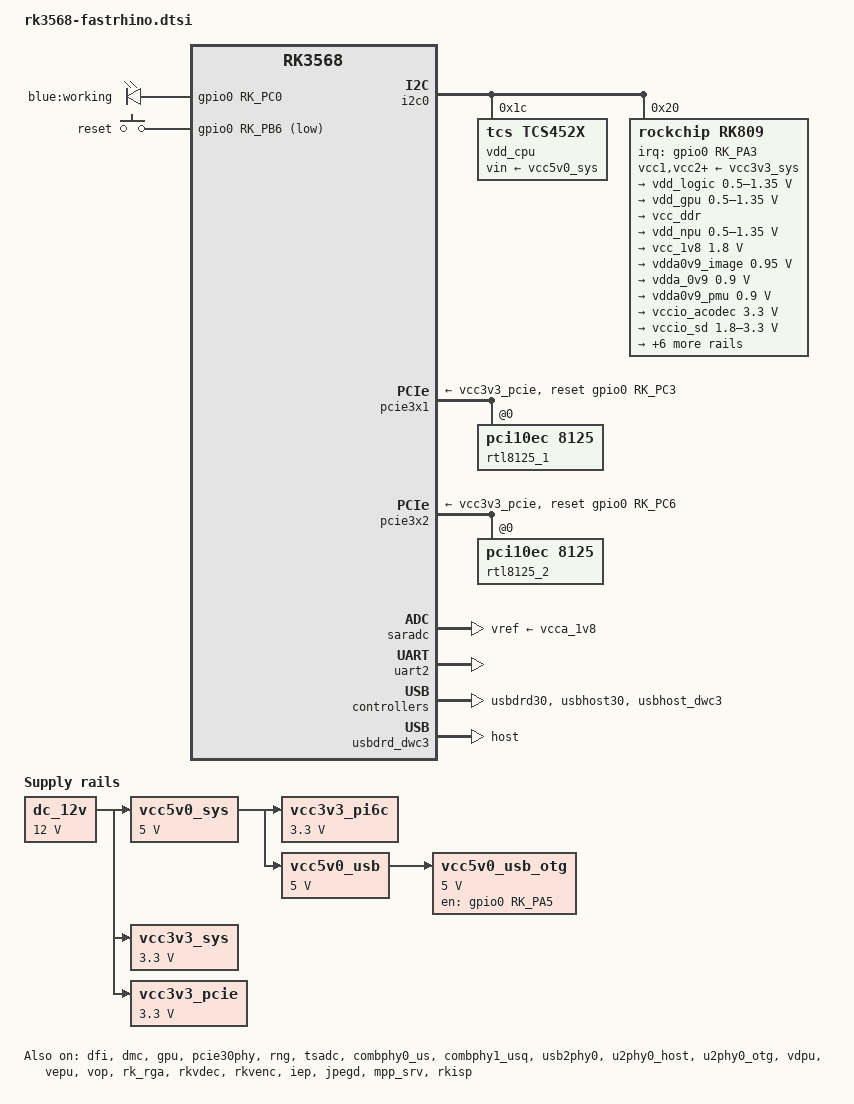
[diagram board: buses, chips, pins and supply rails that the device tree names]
// SPDX-License-Identifier: GPL-2.0-or-later OR MIT
// Created by unifreq https://github.com/unifreq

/dts-v1/;
#include <dt-bindings/gpio/gpio.h>
#include <dt-bindings/pinctrl/rockchip.h>
#include <dt-bindings/pwm/pwm.h>
#include <dt-bindings/input/rk-input.h>
#include <dt-bindings/display/drm_mipi_dsi.h>
#include <dt-bindings/display/rockchip_vop.h>
#include <dt-bindings/sensor-dev.h>
#include "rk3568.dtsi"

/ {
	chosen: chosen {
		bootargs = "earlycon=uart8250,mmio32,0xfe660000 console=ttyS2,1500000";
	};

	fiq_debugger: fiq-debugger {
		compatible = "rockchip,fiq-debugger";
		rockchip,serial-id = <2>;
		rockchip,wake-irq = <0>;
		/* If enable uart uses irq instead of fiq */
		rockchip,irq-mode-enable = <1>;
		rockchip,baudrate = <1500000>;  /* Only 115200 and 1500000 */
		interrupts = <GIC_SPI 252 IRQ_TYPE_LEVEL_LOW>;
		pinctrl-names = "default";
		pinctrl-0 = <&uart2m0_xfer>;
		status = "disabled";
	};

	debug: debug@fd904000 {
		compatible = "rockchip,debug";
		reg = <0x0 0xfd904000 0x0 0x1000>,
			<0x0 0xfd905000 0x0 0x1000>,
			<0x0 0xfd906000 0x0 0x1000>,
			<0x0 0xfd907000 0x0 0x1000>;
	};

	cspmu: cspmu@fd90c000 {
		compatible = "rockchip,cspmu";
		reg = <0x0 0xfd90c000 0x0 0x1000>,
			<0x0 0xfd90d000 0x0 0x1000>,
			<0x0 0xfd90e000 0x0 0x1000>,
			<0x0 0xfd90f000 0x0 0x1000>;
	};

	reserved_memory: reserved-memory {
		#address-cells = <2>;
		#size-cells = <2>;
		ranges;

		cma: cma {
			compatible = "shared-dma-pool";
			reusable;
			size = <0x0 0x10000000>;
			linux,cma-default;
		};
		
		drm_logo: drm-logo@00000000 {
			compatible = "rockchip,drm-logo";
			reg = <0x0 0x0 0x0 0x0>;
		};

		drm_cubic_lut: drm-cubic-lut@00000000 {
			compatible = "rockchip,drm-cubic-lut";
			reg = <0x0 0x0 0x0 0x0>;
		};

		ramoops: ramoops@110000 {
			compatible = "ramoops";
			reg = <0x0 0x110000 0x0 0xf0000>;
			record-size = <0x20000>;
			console-size = <0x80000>;
			ftrace-size = <0x00000>;
			pmsg-size = <0x50000>;
		};

		/*
		rknpu_reserved: rknpu {
			compatible = "shared-dma-pool";
			inactive;
			reusable;
			size = <0x0 0x10000000>;
			alignment = <0x0 0x1000>;
		};
		*/
	};

	gpio_leds: gpio-leds {
		compatible = "gpio-leds";
		pinctrl-names = "default";
		pinctrl-0 = <&blue_led_pin>;

		blue_led: blue-led {
			label = "blue:working";
			gpios = <&gpio0 RK_PC0 GPIO_ACTIVE_HIGH>;
			linux,default-trigger = "heartbeat";
		};
	};

	gpio_keys: gpio-keys {
		compatible = "gpio-keys";
		pinctrl-names = "default";
		pinctrl-0 = <&reset_button_pin>;

		reset {
			debounce-interval = <50>;
			gpios = <&gpio0 RK_PB6 GPIO_ACTIVE_LOW>;
			label = "reset";
			linux,code = <KEY_RESTART>;
		};
	};

	dc_12v: dc-12v {
		compatible = "regulator-fixed";
		regulator-name = "dc_12v";
		regulator-always-on;
		regulator-boot-on;
		regulator-min-microvolt = <12000000>;
		regulator-max-microvolt = <12000000>;
	};

	vcc5v0_sys: vcc5v0-sys {
		compatible = "regulator-fixed";
		regulator-always-on;
		regulator-boot-on;
		regulator-min-microvolt = <5000000>;
		regulator-max-microvolt = <5000000>;
		regulator-name = "vcc5v0_sys";
		vin-supply = <&dc_12v>;
	};

	vcc3v3_sys: vcc3v3-sys {
		compatible = "regulator-fixed";
		regulator-name = "vcc3v3_sys";
		regulator-always-on;
		regulator-boot-on;
		regulator-min-microvolt = <3300000>;
		regulator-max-microvolt = <3300000>;
		vin-supply = <&dc_12v>;
	};

	vcc3v3_pcie: vcc3v3-pcie-regulator {
		compatible = "regulator-fixed";
		regulator-name = "vcc3v3_pcie";
		regulator-always-on;
		regulator-boot-on;
		regulator-min-microvolt = <3300000>;
		regulator-max-microvolt = <3300000>;
		vin-supply = <&dc_12v>;
	};

	vcc3v3_pi6c: vcc3v3-pi6c-regulator {
		compatible = "regulator-fixed";
		regulator-name = "vcc3v3_pi6c";
		regulator-always-on;
		regulator-boot-on;
		regulator-min-microvolt = <3300000>;
		regulator-max-microvolt = <3300000>;
		vin-supply = <&vcc5v0_sys>;
	};

	vcc5v0_usb: vcc5v0-usb {
		compatible = "regulator-fixed";
		regulator-name = "vcc5v0_usb";
		regulator-always-on;
		regulator-boot-on;
		regulator-min-microvolt = <5000000>;
		regulator-max-microvolt = <5000000>;
		vin-supply = <&vcc5v0_sys>;
	};

	vcc5v0_usb_otg: vcc5v0-usb-otg {
		compatible = "regulator-fixed";

		regulator-name = "vcc5v0_usb_otg";
		regulator-min-microvolt = <5000000>;
		regulator-max-microvolt = <5000000>;
		regulator-always-on;
		regulator-boot-on;

		enable-active-high;
		gpio = <&gpio0 RK_PA5 GPIO_ACTIVE_HIGH>;
		pinctrl-names = "default";
		pinctrl-0 = <&vcc5v0_usb_otg_en>;

		vin-supply = <&vcc5v0_usb>;
	};
};

&dfi {
	status = "okay";
};

&dmc {
	center-supply = <&vdd_logic>;
	status = "okay";
};

&cpu0 {
	cpu-supply = <&vdd_cpu>;
};

&gpu {
	mali-supply = <&vdd_gpu>;
	status = "okay";
};

&bus_npu {
	bus-supply = <&vdd_logic>;
	pvtm-supply = <&vdd_cpu>;
	status = "disabled";
};

&rknpu {
	//memory-region = <&rknpu_reserved>;
	rknpu-supply = <&vdd_npu>;
	status = "disabled";
};

&rknpu_mmu {
	status = "disabled";
};

&i2c0 {
	status = "okay";

	vdd_cpu: tcs4525@1c {
		compatible = "tcs,tcs452x";
		reg = <0x1c>;
		vin-supply = <&vcc5v0_sys>;
		regulator-compatible = "fan53555-reg";
		regulator-name = "vdd_cpu";
		regulator-min-microvolt = <712500>;
		regulator-max-microvolt = <1390000>;
		regulator-init-microvolt = <900000>;
		regulator-initial-mode = <1>;
		regulator-ramp-delay = <2300>;
		fcs,suspend-voltage-selector = <1>;
		regulator-boot-on;
		regulator-always-on;

		regulator-state-mem {
			regulator-off-in-suspend;
		};
	};

	rk809: pmic@20 {
		compatible = "rockchip,rk809";
		reg = <0x20>;
		interrupt-parent = <&gpio0>;
		interrupts = <RK_PA3 IRQ_TYPE_LEVEL_LOW>;

		pinctrl-names = "default", "pmic-sleep",
				"pmic-power-off", "pmic-reset";
		pinctrl-0 = <&pmic_int>;
		pinctrl-1 = <&soc_slppin_slp>, <&rk817_slppin_slp>;
		pinctrl-2 = <&soc_slppin_gpio>, <&rk817_slppin_pwrdn>;
		pinctrl-3 = <&soc_slppin_gpio>, <&rk817_slppin_rst>;

		rockchip,system-power-controller;
		wakeup-source;
		#clock-cells = <1>;
		clock-output-names = "rk808-clkout1", "rk808-clkout2";
		//fb-inner-reg-idxs = <2>;
		/* 1: rst regs (default in codes), 0: rst the pmic */
		pmic-reset-func = <0>;
		/* not save the PMIC_POWER_EN register in uboot */
		not-save-power-en = <1>;

		vcc1-supply = <&vcc3v3_sys>;
		vcc2-supply = <&vcc3v3_sys>;
		vcc3-supply = <&vcc3v3_sys>;
		vcc4-supply = <&vcc3v3_sys>;
		vcc5-supply = <&vcc3v3_sys>;
		vcc6-supply = <&vcc3v3_sys>;
		vcc7-supply = <&vcc3v3_sys>;
		vcc8-supply = <&vcc3v3_sys>;
		vcc9-supply = <&vcc3v3_sys>;

		pwrkey {
			status = "okay";
		};

		pinctrl_rk8xx: pinctrl_rk8xx {
			gpio-controller;
			#gpio-cells = <2>;

			rk817_slppin_null: rk817_slppin_null {
				pins = "gpio_slp";
				function = "pin_fun0";
			};

			rk817_slppin_slp: rk817_slppin_slp {
				pins = "gpio_slp";
				function = "pin_fun1";
			};

			rk817_slppin_pwrdn: rk817_slppin_pwrdn {
				pins = "gpio_slp";
				function = "pin_fun2";
			};

			rk817_slppin_rst: rk817_slppin_rst {
				pins = "gpio_slp";
				function = "pin_fun3";
			};
		};

		regulators {
			vdd_logic: DCDC_REG1 {
				regulator-always-on;
				regulator-boot-on;
				regulator-min-microvolt = <500000>;
				regulator-max-microvolt = <1350000>;
				regulator-init-microvolt = <900000>;
				regulator-ramp-delay = <6001>;
				regulator-initial-mode = <0x2>;
				regulator-name = "vdd_logic";
				regulator-state-mem {
					regulator-off-in-suspend;
				};
			};

			vdd_gpu: DCDC_REG2 {
				regulator-always-on;
				regulator-boot-on;
				regulator-min-microvolt = <500000>;
				regulator-max-microvolt = <1350000>;
				regulator-init-microvolt = <900000>;
				regulator-ramp-delay = <6001>;
				regulator-initial-mode = <0x2>;
				regulator-name = "vdd_gpu";
				regulator-state-mem {
					regulator-off-in-suspend;
				};
			};

			vcc_ddr: DCDC_REG3 {
				regulator-always-on;
				regulator-boot-on;
				regulator-initial-mode = <0x2>;
				regulator-name = "vcc_ddr";
				regulator-state-mem {
					regulator-on-in-suspend;
				};
			};

			vdd_npu: DCDC_REG4 {
				regulator-always-on;
				regulator-boot-on;
				regulator-min-microvolt = <500000>;
				regulator-max-microvolt = <1350000>;
				regulator-init-microvolt = <900000>;
				regulator-ramp-delay = <6001>;
				regulator-initial-mode = <0x2>;
				regulator-name = "vdd_npu";
				regulator-state-mem {
					regulator-off-in-suspend;
				};
			};

			vcc_1v8: DCDC_REG5 {
				regulator-always-on;
				regulator-boot-on;
				regulator-min-microvolt = <1800000>;
				regulator-max-microvolt = <1800000>;
				regulator-name = "vcc_1v8";
				regulator-state-mem {
					regulator-off-in-suspend;
				};
			};

			vdda0v9_image: LDO_REG1 {
				regulator-boot-on;
				regulator-always-on;
				regulator-min-microvolt = <950000>;
				regulator-max-microvolt = <950000>;
				regulator-name = "vdda0v9_image";
				regulator-state-mem {
					regulator-off-in-suspend;
				};
			};

			vdda_0v9: LDO_REG2 {
				regulator-always-on;
				regulator-boot-on;
				regulator-min-microvolt = <900000>;
				regulator-max-microvolt = <900000>;
				regulator-name = "vdda_0v9";
				regulator-state-mem {
					regulator-off-in-suspend;
				};
			};

			vdda0v9_pmu: LDO_REG3 {
				regulator-always-on;
				regulator-boot-on;
				regulator-min-microvolt = <900000>;
				regulator-max-microvolt = <900000>;
				regulator-name = "vdda0v9_pmu";
				regulator-state-mem {
					regulator-on-in-suspend;
					regulator-suspend-microvolt = <900000>;
				};
			};

			vccio_acodec: LDO_REG4 {
				regulator-always-on;
				regulator-boot-on;
				regulator-min-microvolt = <3300000>;
				regulator-max-microvolt = <3300000>;
				regulator-name = "vccio_acodec";
				regulator-state-mem {
					regulator-off-in-suspend;
				};
			};

			vccio_sd: LDO_REG5 {
				regulator-always-on;
				regulator-boot-on;
				regulator-min-microvolt = <1800000>;
				regulator-max-microvolt = <3300000>;
				regulator-name = "vccio_sd";
				regulator-state-mem {
					regulator-off-in-suspend;
				};
			};

			vcc3v3_pmu: LDO_REG6 {
				regulator-always-on;
				regulator-boot-on;
				regulator-min-microvolt = <3300000>;
				regulator-max-microvolt = <3300000>;
				regulator-name = "vcc3v3_pmu";
				regulator-state-mem {
					regulator-on-in-suspend;
					regulator-suspend-microvolt = <3300000>;
				};
			};

			vcca_1v8: LDO_REG7 {
				regulator-always-on;
				regulator-boot-on;
				regulator-min-microvolt = <1800000>;
				regulator-max-microvolt = <1800000>;
				regulator-name = "vcca_1v8";
				regulator-state-mem {
					regulator-off-in-suspend;
				};
			};

			vcca1v8_pmu: LDO_REG8 {
				regulator-always-on;
				regulator-boot-on;
				regulator-min-microvolt = <1800000>;
				regulator-max-microvolt = <1800000>;
				regulator-name = "vcca1v8_pmu";
				regulator-state-mem {
					regulator-on-in-suspend;
					regulator-suspend-microvolt = <1800000>;
				};
			};

			vcca1v8_image: LDO_REG9 {
				regulator-always-on;
				regulator-boot-on;
				regulator-min-microvolt = <950000>;
				regulator-max-microvolt = <1800000>;
				regulator-init-microvolt = <950000>;
				regulator-name = "vcca1v8_image";
				regulator-state-mem {
					regulator-off-in-suspend;
					regulator-suspend-microvolt = <950000>;
				};
			};

			vcc_3v3: SWITCH_REG1 {
				regulator-always-on;
				regulator-boot-on;
				regulator-name = "vcc_3v3";
				regulator-state-mem {
					regulator-off-in-suspend;
				};
			};

			vcc3v3_sd: SWITCH_REG2 {
				regulator-always-on;
				regulator-boot-on;
				regulator-name = "vcc3v3_sd";
				regulator-state-mem {
					regulator-off-in-suspend;
				};
			};
		};
	};
};

&pmu_io_domains {
	pmuio1-supply = <&vcc3v3_pmu>;
	pmuio2-supply = <&vcc3v3_pmu>;
	vccio1-supply = <&vccio_acodec>;
	vccio3-supply = <&vccio_sd>;
	vccio4-supply = <&vcc_1v8>;
	vccio5-supply = <&vcc_3v3>;
	vccio6-supply = <&vcc_1v8>;
	vccio7-supply = <&vcc_3v3>;
	status = "okay";
};

&pcie30phy {
	status = "okay";
};

&pcie3x1 {
	rockchip,bifurcation;
	reset-gpios = <&gpio0 RK_PC3 GPIO_ACTIVE_HIGH>;
	vpcie3v3-supply = <&vcc3v3_pcie>;
	status = "okay";

	pcie@0,0 {
		reg = <0x00100000 0 0 0 0>;
		#address-cells = <3>;
		#size-cells = <2>;

		rtl8125_1: pcie-eth@10,0 {
			compatible = "pci10ec,8125";
			reg = <0x000000 0 0 0 0>;

			/* G+ 3v3
			 * G- LED1: LINK on 100 + 1000 + 2500
			 * Y+ 3v3
			 * Y- LED0: ACT on all speed
			 */
			r8125,led0 = <0x0200>;
			r8125,led1 = <0x002a>;
		};
	};
};

&pcie3x2 {
	rockchip,bifurcation;
	reset-gpios = <&gpio0 RK_PC6 GPIO_ACTIVE_HIGH>;
	vpcie3v3-supply = <&vcc3v3_pcie>;
	status = "okay";

	pcie@0,0 {
		reg = <0x00200000 0 0 0 0>;
		#address-cells = <3>;
		#size-cells = <2>;

		rtl8125_2: pcie-eth@20,0 {
			compatible = "pci10ec,8125";
			reg = <0x000000 0 0 0 0>;

			/* G+ 3v3
			 * G- LED1: LINK on 100 + 1000 + 2500
			 * Y+ 3v3
			 * Y- LED0: ACT on all speed
			 */
			r8125,led0 = <0x0200>;
			r8125,led1 = <0x002a>;
		};
	};
};

&rng {
	status = "okay";
};

&saradc {
	vref-supply = <&vcca_1v8>;
	status = "okay";
};

&tsadc {
	status = "okay";
};

&uart2 {
	status = "okay";
};

&usb_host0_ehci {
	status = "disabled";
};

&usb_host0_ohci {
	status = "disabled";
};

&usb_host1_ehci {
	status = "disabled";
};

&usb_host1_ohci {
	status = "disabled";
};

&usb2phy1 {
	status = "disabled";
};

&u2phy1_host {
	status = "disabled";
};

&u2phy1_otg {
	status = "disabled";
};

&combphy0_us {
	status = "okay";
};

&combphy1_usq {
	status = "okay";
};

&usbdrd30 {
	status = "okay";
};

&usbdrd_dwc3 {
	extcon = <&usb2phy0>;
	dr_mode = "host";
	status = "okay";
};

&usbhost30 {
	status = "okay";
};

&usbhost_dwc3 {
	status = "okay";
};

&usb2phy0 {
	status = "okay";
};

&u2phy0_host {
	phy-supply = <&vcc5v0_usb_otg>;
	status = "okay";
};

&u2phy0_otg {
	phy-supply = <&vcc5v0_usb_otg>;
	status = "okay";
};

&vdpu {
	status = "okay";
};

&vdpu_mmu {
	status = "okay";
};

&vepu {
	status = "okay";
};

&vepu_mmu {
	status = "okay";
};

&vop {
	status = "okay";
	assigned-clocks = <&cru DCLK_VOP0>, <&cru DCLK_VOP1>;
	assigned-clock-parents = <&pmucru PLL_HPLL>, <&cru PLL_VPLL>;
	support-multi-area;
	disable-win-move;
};

&vop_mmu {
	status = "okay";
};

&vp0 {
	rockchip,plane-mask = <(1 << ROCKCHIP_VOP2_CLUSTER0 | 1 << ROCKCHIP_VOP2_ESMART0)>;
	rockchip,primary-plane = <ROCKCHIP_VOP2_ESMART0>;
};

&vp1 {
	rockchip,plane-mask = <(1 << ROCKCHIP_VOP2_CLUSTER1 | 1 << ROCKCHIP_VOP2_ESMART1)>;
	rockchip,primary-plane = <ROCKCHIP_VOP2_ESMART1>;
};

&vop {
	assigned-clocks = <&cru DCLK_VOP0>, <&cru DCLK_VOP1>;
	assigned-clock-parents = <&pmucru PLL_HPLL>, <&cru PLL_VPLL>;
	status = "okay";
};

&vop_mmu {
	status = "okay";
};

&rk_rga {
	status = "okay";
};

&rkvdec {
	status = "okay";
};

&rkvdec_mmu {
	status = "okay";
};

&rkvenc {
	venc-supply = <&vdd_logic>;
	status = "okay";
};

&rkvenc_mmu {
	status = "okay";
};

&iep {
	status = "okay";
};

&iep_mmu {
	status = "okay";
};

&jpegd {
	status = "okay";
};

&jpegd_mmu {
	status = "okay";
};

&mpp_srv {
	status = "okay";
};

&rkisp {
	status = "okay";
};

&rkisp_mmu {
	status = "okay";
};

&rockchip_suspend {
	status = "okay";
};

&pinctrl {
	gpio-leds {
		blue_led_pin: blue-led-pin {
			rockchip,pins = <0 RK_PC0 RK_FUNC_GPIO &pcfg_pull_none>;
		};
	};

	pmic {
		pmic_int: pmic_int {
			rockchip,pins = <0 RK_PA3 RK_FUNC_GPIO &pcfg_pull_up>;
		};

		soc_slppin_gpio: soc_slppin_gpio {
			rockchip,pins = <0 RK_PA2 RK_FUNC_GPIO &pcfg_output_low>;
		};

		soc_slppin_slp: soc_slppin_slp {
			rockchip,pins = <0 RK_PA2 1 &pcfg_pull_none>;
		};

		soc_slppin_rst: soc_slppin_rst {
			rockchip,pins = <0 RK_PA2 2 &pcfg_pull_none>;
		};
	};

	rockchip-key {
		reset_button_pin: reset-button-pin {
			rockchip,pins = <0 RK_PB6 RK_FUNC_GPIO &pcfg_pull_up>;
		};
	};

	usb {
		vcc5v0_usb_otg_en: vcc5v0_usb_otg_en {
			rockchip,pins = <0 RK_PA5 RK_FUNC_GPIO &pcfg_pull_none>;
		};
	};
};
